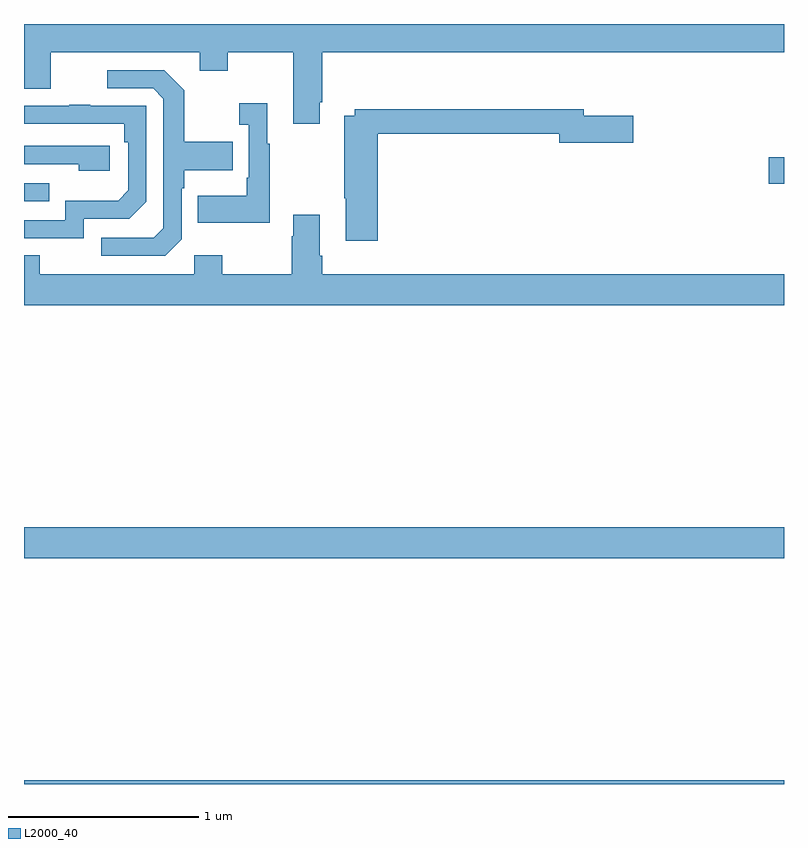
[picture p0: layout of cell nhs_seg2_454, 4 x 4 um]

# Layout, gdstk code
import gdstk
lib = gdstk.Library(unit=1e-6, precision=1e-09)
def R(c, l, rs):  # rectangles x0, y0, x1, y1
    for r in rs: c.add(gdstk.rectangle(r[:2], r[2:], *l))
def P(c, l, *ps):  # polygons
    for p in ps: c.add(gdstk.Polygon(p, *l))
L2000_40 = (2000, 40)

nhs_seg2_454 = lib.new_cell('nhs_seg2_454')
R(nhs_seg2_454, L2000_40, [(133,627.8,137,627.82), (133,628.988,137,629.152), (133,630.867,133.133,630.963), (136.92,630.958,137,631.1)])
P(nhs_seg2_454, L2000_40, [(133,631.652),(133.001,631.652),(133.001,631.458),(133.141,631.458),(133.141,631.652),(133.925,631.652),(133.925,631.553),(134.073,631.553),(134.073,631.652),(134.417,631.652),(134.417,631.275),(134.557,631.275),(134.557,631.387),(134.57,631.387),(134.57,631.652),(137,631.652),(137,631.8),(133,631.8)],
  [(133.83,630.666),(133.83,630.935),(133.843,630.935),(133.843,631.031),(134.099,631.031),(134.099,631.179),(133.843,631.179),(133.843,631.451),(133.737,631.557),(133.437,631.557),(133.437,631.461),(133.68,631.461),(133.734,631.407),(133.734,630.726),(133.683,630.675),(133.407,630.675),(133.407,630.579),(133.743,630.579)],
  [(134.293,631.171),(134.281,631.171),(134.281,631.384),(134.133,631.384),(134.133,631.271),(134.184,631.271),(134.184,630.991),(134.172,630.991),(134.172,630.895),(133.915,630.895),(133.915,630.755),(134.293,630.755)],
  [(133.314,630.774),(133.554,630.774),(133.644,630.864),(133.644,631.371),(133.349,631.371),(133.349,631.376),(133.237,631.376),(133.237,631.371),(133,631.371),(133,631.275),(133.528,631.275),(133.528,631.178),(133.548,631.178),(133.548,630.924),(133.495,630.871),(133.218,630.871),(133.218,630.768),(133,630.768),(133,630.672),(133.314,630.672)],
  [(134.861,631.222),(135.818,631.222),(135.818,631.175),(136.207,631.175),(136.207,631.317),(135.946,631.317),(135.946,631.351),(134.742,631.351),(134.742,631.318),(134.686,631.318),(134.686,630.883),(134.693,630.883),(134.693,630.66),(134.861,630.66)],
  [(133.45,631.158),(133,631.158),(133,631.062),(133.289,631.062),(133.289,631.028),(133.45,631.028)],
  [(137,630.484),(134.57,630.484),(134.57,630.58),(134.557,630.58),(134.557,630.796),(134.417,630.796),(134.417,630.683),(134.41,630.683),(134.41,630.484),(134.043,630.484),(134.043,630.583),(133.896,630.583),(133.896,630.484),(133.083,630.484),(133.083,630.583),(133,630.583),(133,630.32),(137,630.32)])

lib.write_gds('nhs_seg2_454.gds')
